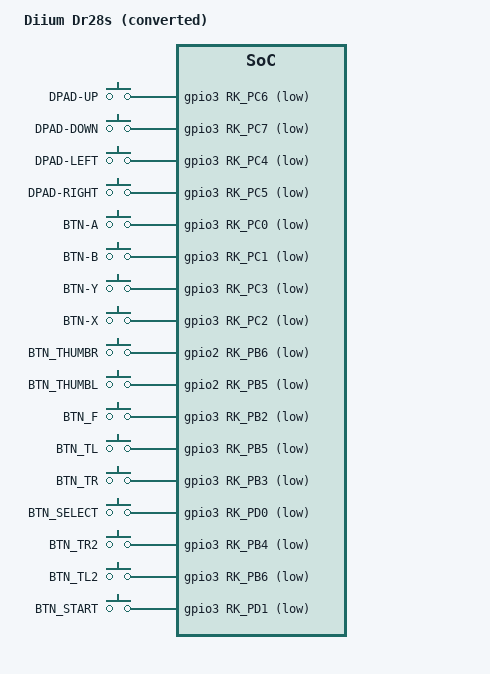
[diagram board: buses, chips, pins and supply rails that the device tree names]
// SPDX-License-Identifier: (GPL-2.0+ OR MIT)
/*
 * Diium Dr28s, converted from a vendor RK3326 device tree by
 * `r36os dtb import` (boot-dtb-select D12). Do not edit: import again.
 * Source: arkos4clone/boot/dArkOS/consoles/dr28s/rk3326-dr28s-linux.dtb
 * SHA-256: ab775010f9d598bb8bac25fbface5cdd7120cb1dd608a7d81740f020c161b031
 * Note: speaker gain: source spk-volume 3 ignored, the native safe value is used
 */

#include "rk3326-r36s-v5.dts"

/ {
	model = "Diium Dr28s (converted)";

	lume-select {
		lume,id = "arkos4clone-dr28s";
		lume,priority = <0>;
		/delete-property/ lume,default;
	};

	/delete-node/ gpio-keys;
	/delete-node/ volume-keys;

	gpio-keys {
		compatible = "gpio-keys";
		pinctrl-names = "default";
		pinctrl-0 = <&btn_pins>;

		button-dpad-up {
			gpios = <&gpio3 RK_PC6 GPIO_ACTIVE_LOW>;
			label = "DPAD-UP";
			linux,code = <0x220>;
		};

		button-dpad-down {
			gpios = <&gpio3 RK_PC7 GPIO_ACTIVE_LOW>;
			label = "DPAD-DOWN";
			linux,code = <0x221>;
		};

		button-dpad-left {
			gpios = <&gpio3 RK_PC4 GPIO_ACTIVE_LOW>;
			label = "DPAD-LEFT";
			linux,code = <0x222>;
		};

		button-dpad-right {
			gpios = <&gpio3 RK_PC5 GPIO_ACTIVE_LOW>;
			label = "DPAD-RIGHT";
			linux,code = <0x223>;
		};

		button-btn-a {
			gpios = <&gpio3 RK_PC0 GPIO_ACTIVE_LOW>;
			label = "BTN-A";
			linux,code = <0x131>;
		};

		button-btn-b {
			gpios = <&gpio3 RK_PC1 GPIO_ACTIVE_LOW>;
			label = "BTN-B";
			linux,code = <0x130>;
		};

		button-btn-y {
			gpios = <&gpio3 RK_PC3 GPIO_ACTIVE_LOW>;
			label = "BTN-Y";
			linux,code = <0x134>;
		};

		button-btn-x {
			gpios = <&gpio3 RK_PC2 GPIO_ACTIVE_LOW>;
			label = "BTN-X";
			linux,code = <0x133>;
		};

		button-btn-thumbr {
			gpios = <&gpio2 RK_PB6 GPIO_ACTIVE_LOW>;
			label = "BTN_THUMBR";
			linux,code = <0x2c3>;
		};

		button-btn-thumbl {
			gpios = <&gpio2 RK_PB5 GPIO_ACTIVE_LOW>;
			label = "BTN_THUMBL";
			linux,code = <0x2c2>;
		};

		button-btn-f {
			gpios = <&gpio3 RK_PB2 GPIO_ACTIVE_LOW>;
			label = "BTN_F";
			linux,code = <0x2c4>;
		};

		button-btn-tl {
			gpios = <&gpio3 RK_PB5 GPIO_ACTIVE_LOW>;
			label = "BTN_TL";
			linux,code = <0x136>;
		};

		button-btn-tr {
			gpios = <&gpio3 RK_PB3 GPIO_ACTIVE_LOW>;
			label = "BTN_TR";
			linux,code = <0x137>;
		};

		button-btn-select {
			gpios = <&gpio3 RK_PD0 GPIO_ACTIVE_LOW>;
			label = "BTN_SELECT";
			linux,code = <0x2c0>;
		};

		button-btn-tr2 {
			gpios = <&gpio3 RK_PB4 GPIO_ACTIVE_LOW>;
			label = "BTN_TR2";
			linux,code = <0x139>;
		};

		button-btn-tl2 {
			gpios = <&gpio3 RK_PB6 GPIO_ACTIVE_LOW>;
			label = "BTN_TL2";
			linux,code = <0x138>;
		};

		button-btn-start {
			gpios = <&gpio3 RK_PD1 GPIO_ACTIVE_LOW>;
			label = "BTN_START";
			linux,code = <0x2c1>;
		};
	};

	/delete-node/ adc-joystick;
	/delete-node/ adc-mux;
	/delete-node/ mux-controller;

	/delete-node/ gpio-leds;

	rk817-sound {
		simple-audio-card,hp-det-gpios = <&gpio2 RK_PC6 GPIO_ACTIVE_LOW>;
	};
};

&internal_display {
	compatible = "rocknix,generic-dsi";
	/delete-property/ vcc-supply;
	vdd-supply = <&vcc_lcd>;
	reset-gpios = <&gpio3 RK_PB7 GPIO_ACTIVE_LOW>;
	enable-gpios = <&gpio0 RK_PB5 GPIO_ACTIVE_HIGH>;
	panel_description =
		"G size=153,85 delays=20,20,20,120,20 format=rgb888 lanes=2 flags=0xe03",
		"M clock=30000 horizontal=480,20,4,20 vertical=640,12,4,16 default=1",
		"I seq=ff7701000013",
		"I seq=ef08",
		"I seq=ff7701000010",
		"I seq=c04f00",
		"I seq=c1100c",
		"I seq=c20114",
		"I seq=cc10",
		"I seq=b00a181e12160c0e0d0c2906141329331c",
		"I seq=b10a19210a0c000c030323010e0c272b1c",
		"I seq=ff7701000011",
		"I seq=b05d",
		"I seq=b14f",
		"I seq=b200",
		"I seq=b380",
		"I seq=b50c",
		"I seq=b785",
		"I seq=b820",
		"I seq=c178",
		"I seq=c278",
		"I seq=d088",
		"I seq=e0000002",
		"I seq=e106a008a005a007a0004444",
		"I seq=e22020444496a0000096a00000",
		"I seq=e300002222",
		"I seq=e44444",
		"I seq=e50d910aa00f930aa0098d0aa00b8f0aa0",
		"I seq=e600002222",
		"I seq=e74444",
		"I seq=e80c900aa00e920aa0088c0aa00a8e0aa0",
		"I seq=e93600",
		"I seq=eb0001e4e4448840",
		"I seq=edff4567fa012bcffffffcb210af7654ff",
		"I seq=ef100d04083f1f",
		"I seq=3600",
		"I seq=3500",
		"I seq=11 wait=78",
		"I seq=29 wait=64";
};

&dsi {
	rockchip,lane-rate = <400>;
};

&backlight {
	pwms = <&pwm1 0 25000 0>;
	/delete-property/ num-interpolated-steps;
	brightness-levels = <0 1 2 3 4 5 6 7 8 9 10 11 12 13 14 15 16 17 18 19 20 21 22 23 24 25 26 27 28 29 30 31 32 33 34 35 36 37 38 39 40 41 42 43 44 45 46 47 48 49 50 51 52 53 54 55 56 57 58 59 60 61 62 63 64 65 66 67 68 69 70 71 72 73 74 75 76 77 78 79 80 81 82 83 84 85 86 87 88 89 90 91 92 93 94 95 96 97 98 99 100 101 102 103 104 105 106 107 108 109 110 111 112 113 114 115 116 117 118 119 120 121 122 123 124 125 126 127 128 129 130 131 132 133 134 135 136 137 138 139 140 141 142 143 144 145 146 147 148 149 150 151 152 153 154 155 156 157 158 159 160 161 162 163 164 165 166 167 168 169 170 171 172 173 174 175 176 177 178 179 180 181 182 183 184 185 186 187 188 189 190 191 192 193 194 195 196 197 198 199 200 201 202 203 204 205 206 207 208 209 210 211 212 213 214 215 216 217 218 219 220 221 222 223 224 225 226 227 228 229 230 231 232 233 234 235 236 237 238 239 240 241 242 243 244 245 246 247 248 249 250 251 252 253 254 255>;
	default-brightness-level = <200>;
};

&battery {
	charge-full-design-microamp-hours = <1882000>;
	voltage-max-design-microvolt = <4046000>;
	voltage-min-design-microvolt = <3300000>;
	ocv-capacity-table-0 = <4046000 100>,
				<4001000 95>,
				<3967000 90>,
				<3940000 85>,
				<3910000 80>,
				<3870000 75>,
				<3830000 70>,
				<3790000 65>,
				<3750000 60>,
				<3720000 55>,
				<3690000 50>,
				<3650000 45>,
				<3610000 40>,
				<3570000 35>,
				<3540000 30>,
				<3500000 25>,
				<3460000 20>,
				<3420000 15>,
				<3380000 10>,
				<3340000 5>,
				<3300000 0>;
};

&spk_amp {
	/delete-property/ enable-gpios;
	/delete-property/ pinctrl-names;
	/delete-property/ pinctrl-0;
};

&rk817 {
	interrupt-parent = <&gpio0>;
	interrupts = <RK_PB2 IRQ_TYPE_LEVEL_LOW>;
};

&gpio0 {
	/delete-node/ joystick-mux-en-hog;
};

&gpio1 {
	/delete-node/ lcd-enable-hog;
};

&gpio3 {
	/delete-node/ lcd-stbyb-hog;
};

&btn_pins {
	rockchip,pins =
		<3 RK_PC6 RK_FUNC_GPIO &pcfg_pull_up>,
		<3 RK_PC7 RK_FUNC_GPIO &pcfg_pull_up>,
		<3 RK_PC4 RK_FUNC_GPIO &pcfg_pull_up>,
		<3 RK_PC5 RK_FUNC_GPIO &pcfg_pull_up>,
		<3 RK_PC0 RK_FUNC_GPIO &pcfg_pull_up>,
		<3 RK_PC1 RK_FUNC_GPIO &pcfg_pull_up>,
		<3 RK_PC3 RK_FUNC_GPIO &pcfg_pull_up>,
		<3 RK_PC2 RK_FUNC_GPIO &pcfg_pull_up>,
		<2 RK_PB6 RK_FUNC_GPIO &pcfg_pull_up>,
		<2 RK_PB5 RK_FUNC_GPIO &pcfg_pull_up>,
		<3 RK_PB2 RK_FUNC_GPIO &pcfg_pull_up>,
		<3 RK_PB5 RK_FUNC_GPIO &pcfg_pull_up>,
		<3 RK_PB3 RK_FUNC_GPIO &pcfg_pull_up>,
		<3 RK_PD0 RK_FUNC_GPIO &pcfg_pull_up>,
		<3 RK_PB4 RK_FUNC_GPIO &pcfg_pull_up>,
		<3 RK_PB6 RK_FUNC_GPIO &pcfg_pull_up>,
		<3 RK_PD1 RK_FUNC_GPIO &pcfg_pull_up>;
};

&hp_det {
	rockchip,pins = <2 RK_PC6 RK_FUNC_GPIO &pcfg_pull_none>;
};

&pmic_int {
	rockchip,pins = <0 RK_PB2 RK_FUNC_GPIO &pcfg_pull_up>;
};
